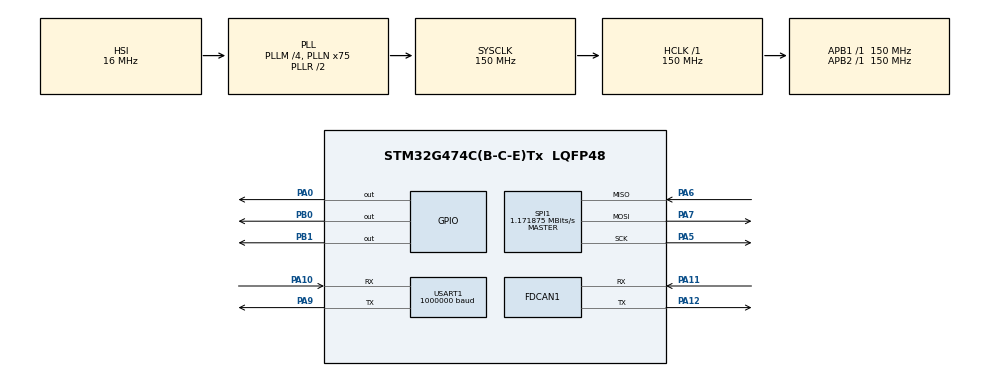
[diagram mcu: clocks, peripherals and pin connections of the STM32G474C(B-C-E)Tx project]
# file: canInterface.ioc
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Dma.Request0=USART1_RX
Dma.USART1_RX.0.Direction=DMA_PERIPH_TO_MEMORY
Dma.USART1_RX.0.EventEnable=DISABLE
Dma.USART1_RX.0.Instance=DMA1_Channel1
Dma.USART1_RX.0.MemDataAlignment=DMA_MDATAALIGN_BYTE
Dma.USART1_RX.0.MemInc=DMA_MINC_ENABLE
Dma.USART1_RX.0.Mode=DMA_CIRCULAR
Dma.USART1_RX.0.PeriphDataAlignment=DMA_PDATAALIGN_BYTE
Dma.USART1_RX.0.PeriphInc=DMA_PINC_DISABLE
Dma.USART1_RX.0.Polarity=HAL_DMAMUX_REQ_GEN_RISING
Dma.USART1_RX.0.Priority=DMA_PRIORITY_LOW
Dma.USART1_RX.0.RequestNumber=1
Dma.USART1_RX.0.SignalID=NONE
Dma.USART1_RX.0.SyncEnable=DISABLE
Dma.USART1_RX.0.SyncPolarity=HAL_DMAMUX_SYNC_NO_EVENT
Dma.USART1_RX.0.SyncRequestNumber=1
Dma.USART1_RX.0.SyncSignalID=NONE
FDCAN1.AutoRetransmission=ENABLE
FDCAN1.CalculateBaudRateNominal=1000000
FDCAN1.CalculateTimeBitNominal=1000
FDCAN1.CalculateTimeQuantumNominal=6.666666666666667
FDCAN1.DataPrescaler=1
FDCAN1.DataSyncJumpWidth=4
FDCAN1.DataTimeSeg1=5
FDCAN1.DataTimeSeg2=4
FDCAN1.ExtFiltersNbr=0
FDCAN1.NominalPrescaler=1
FDCAN1.NominalSyncJumpWidth=16
FDCAN1.NominalTimeSeg1=129
FDCAN1.NominalTimeSeg2=20
FDCAN1.StdFiltersNbr=1
Mcu.Family=STM32G4
Mcu.Name=STM32G474C(B-C-E)Tx
Mcu.Package=LQFP48
NVIC.DMA1_Channel1_IRQn=true\:0\:0\:false\:false\:true\:false\:true\:true
NVIC.PriorityGroup=NVIC_PRIORITYGROUP_4
NVIC.TIM2_IRQn=true\:0\:0\:false\:false\:true\:true\:true\:true
NVIC.USART1_IRQn=true\:0\:0\:false\:false\:true\:true\:true\:true
PA0.GPIO_PuPd=GPIO_PULLDOWN
PA0.GPIO_Speed=GPIO_SPEED_FREQ_VERY_HIGH
PA0.Signal=GPIO_Output
PA10.Mode=Asynchronous
PA10.Signal=USART1_RX
PA11.Mode=FDCAN_Activate
PA11.Signal=FDCAN1_RX
PA12.Mode=FDCAN_Activate
PA12.Signal=FDCAN1_TX
PA5.GPIO_Speed=GPIO_SPEED_FREQ_HIGH
PA5.Mode=Full_Duplex_Master
PA5.Signal=SPI1_SCK
PA6.GPIO_Speed=GPIO_SPEED_FREQ_HIGH
PA6.Mode=Full_Duplex_Master
PA6.Signal=SPI1_MISO
PA7.GPIO_Speed=GPIO_SPEED_FREQ_HIGH
PA7.Mode=Full_Duplex_Master
PA7.Signal=SPI1_MOSI
PA9.Mode=Asynchronous
PA9.Signal=USART1_TX
PB0.GPIO_PuPd=GPIO_PULLUP
PB0.GPIO_Speed=GPIO_SPEED_FREQ_VERY_HIGH
PB0.PinState=GPIO_PIN_SET
PB0.Signal=GPIO_Output
PB1.GPIO_PuPd=GPIO_PULLUP
PB1.GPIO_Speed=GPIO_SPEED_FREQ_VERY_HIGH
PB1.PinState=GPIO_PIN_SET
PB1.Signal=GPIO_Output
PF0-OSC_IN.Mode=HSE-External-Oscillator
PF0-OSC_IN.Signal=RCC_OSC_IN
PF1-OSC_OUT.Mode=HSE-External-Oscillator
PF1-OSC_OUT.Signal=RCC_OSC_OUT
ProjectManager.HeapSize=0x1000
ProjectManager.StackSize=0x1000
ProjectManager.TargetToolchain=STM32CubeIDE
RCC.ADC12Freq_Value=150000000
RCC.ADC345Freq_Value=150000000
RCC.AHBFreq_Value=150000000
RCC.APB1Freq_Value=150000000
RCC.APB1TimFreq_Value=150000000
RCC.APB2Freq_Value=150000000
RCC.APB2TimFreq_Value=150000000
RCC.CortexFreq_Value=150000000
RCC.EXTERNAL_CLOCK_VALUE=12288000
RCC.HCLKFreq_Value=150000000
RCC.HSE_VALUE=8000000
RCC.HSI48_VALUE=48000000
RCC.HSI_VALUE=16000000
RCC.LSE_VALUE=32768
RCC.PLLM=RCC_PLLM_DIV4
RCC.PLLN=75
RCC.SYSCLKFreq_VALUE=150000000
RCC.SYSCLKSource=RCC_SYSCLKSOURCE_PLLCLK
RCC.USBFreq_Value=150000000
RCC.VCOOutputFreq_Value=300000000
SPI1.BaudRatePrescaler=SPI_BAUDRATEPRESCALER_128
SPI1.CalculateBaudRate=1.171875 MBits/s
SPI1.DataSize=SPI_DATASIZE_8BIT
SPI1.Direction=SPI_DIRECTION_2LINES
SPI1.Mode=SPI_MODE_MASTER
SPI1.NSSPMode=SPI_NSS_PULSE_DISABLE
SPI1.VirtualType=VM_MASTER
TIM2.AutoReloadPreload=TIM_AUTORELOAD_PRELOAD_ENABLE
TIM2.PeriodNoDither=9999
TIM2.Prescaler=14
TIM4.Prescaler=149
USART1.BaudRate=1000000
USART1.VirtualMode-Asynchronous=VM_ASYNC
VP_TIM2_VS_ClockSourceINT.Mode=Internal
VP_TIM4_VS_ClockSourceINT.Mode=Internal
board=custom

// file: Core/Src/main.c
/* USER CODE BEGIN Header */
/**
  ******************************************************************************
  * @file           : main.c
  * @brief          : Main program body
  ******************************************************************************
  * @attention
  *
  * Copyright (c) 2022 STMicroelectronics.
  * All rights reserved.
  *
  * This software is licensed under terms that can be found in the LICENSE file
  * in the root directory of this software component.
  * If no LICENSE file comes with this software, it is provided AS-IS.
  *
  ******************************************************************************
  */
/* USER CODE END Header */
#include "main.h"

FDCAN_HandleTypeDef hfdcan1;

SPI_HandleTypeDef hspi1;

TIM_HandleTypeDef htim2;
TIM_HandleTypeDef htim4;

UART_HandleTypeDef huart1;
DMA_HandleTypeDef hdma_usart1_rx;

/* USER CODE BEGIN PV */
FDCAN_TxHeaderTypeDef TxHeader;
FDCAN_RxHeaderTypeDef RxHeader;
uint8_t txData[8];
uint8_t rxData[8];
uint8_t trigger1msFlag=0;
uint8_t trigger2msFlag=0;
uint8_t spiAsk[]={0x05,0x00,0x00,0x00,0x00};
uint8_t spi1Rec[5];
uint8_t spi2Rec[5];
uint8_t spiTxData[8],spiTxDataOld[8],spiTxDataBuff[16];
uint8_t spi1HoldData[3];
uint8_t spi2HoldData[3];
int32_t angle;
uint32_t send_angle;
uint8_t dataInterity;
uint8_t dmaBuff[15]; // for receiving pos feedback
uint8_t FBposBuff[30];
uint8_t torEnFlag,torEnFlagOld;
uint8_t desPos[4];
HAL_StatusTypeDef spi1state;
HAL_StatusTypeDef spi2state;
/* USER CODE END PV */

void SystemClock_Config(void);
static void MX_GPIO_Init(void);
static void MX_DMA_Init(void);
static void MX_FDCAN1_Init(void);
static void MX_SPI1_Init(void);
static void MX_USART1_UART_Init(void);
static void MX_TIM2_Init(void);
static void MX_TIM4_Init(void);
/* USER CODE BEGIN PFP */
uint8_t SAEJ1850_CRC8(uint8_t* data,  uint8_t length);
void int32toBytes(int32_t data, uint8_t* outBytes);
unsigned short update_crc(unsigned short crc_accum, unsigned char *data_blk_ptr, unsigned short data_blk_size);
/* USER CODE END PFP */

/* USER CODE BEGIN 0 */
void unpack_reply(FDCAN_RxHeaderTypeDef *pRxHeader, uint8_t *data)
{
	//if (pRxHeader->DataLength == FDCAN_DLC_BYTES_8)
	{
		int i;
		uint32_t recID=pRxHeader->Identifier;
		if (recID==0x145)
		{
			for (i=0;i<4;i++)
				txData[i]=spiTxDataBuff[i];

			if (rxData[0]==1)
				torEnFlag=1;
			else
				torEnFlag=0;

			uint8_t returnMsg[13];
			returnMsg[0]=0xff;
			returnMsg[1]=0xff;
			returnMsg[2]=0xfd;
			returnMsg[3]=0; // reserved
			returnMsg[4]=1; // device ID
			returnMsg[5]=6; // low byte of length
			returnMsg[6]=0; // high byte of length
			returnMsg[7]=3; // instruction code
			returnMsg[8]=68; // Low byte reg address
			returnMsg[9]=0x00; // high byte reg address
			returnMsg[10]=1; // para bytes
			returnMsg[11]=0xde; //low byte of CRC
			returnMsg[12]=0; // high byte of CRC
			unsigned short crc16;
			crc16=update_crc(0, returnMsg, 11);
			returnMsg[11]= crc16 & 0x00ff;
			returnMsg[12] = (crc16>>8) & 0x00ff;

			if (rxData[0]==2)
			{
				HAL_UART_Abort(&huart1);
				HAL_UART_DMAStop(&huart1);

				//MX_DMA_Init();
				HAL_Delay(100);
				HAL_UART_Transmit(&huart1,returnMsg,13,2); // disable response data for write cmd
				HAL_Delay(100);
				for (i=0;i<15;i++)
					dmaBuff[i]=0;
				for (i=0;i<30;i++)
					FBposBuff[i]=0;
				HAL_UART_Receive_DMA(&huart1, dmaBuff, 15);
			}

			desPos[0]=rxData[2]; // little-endian
			desPos[1]=rxData[3];
			desPos[2]=rxData[4];
			desPos[3]=rxData[5];

			for (i=0;i<16;i++)
			{if (FBposBuff[i]==0xff && FBposBuff[i+1]==0xff && FBposBuff[i+2]==0xfd)
					break;
			}
			txData[4]=FBposBuff[i+9];
			txData[5]=FBposBuff[i+10];
			txData[6]=FBposBuff[i+11];
			txData[7]=FBposBuff[i+12];
		}
		TxHeader.Identifier=recID;
		HAL_FDCAN_AddMessageToTxFifoQ(&hfdcan1, &TxHeader, txData);
	}

}

void HAL_TIM_PeriodElapsedCallback(TIM_HandleTypeDef *htim)
{
	if (htim==&htim2)
		{trigger1msFlag=1;trigger2msFlag++;}
}
void delay_us(uint16_t nus)
{
	__HAL_TIM_SET_COUNTER(&htim4, 0);
	while (__HAL_TIM_GET_COUNTER(&htim4) < nus) ;
}

void HAL_UART_RxCpltCallback(UART_HandleTypeDef *huart)
{
	if(huart->Instance==USART1)
	{
	int i;
/*	for (i=15;i<30;i++)
		FBposBuff[i]=FBposBuff[i-15];
	for (i=0;i<15;i++)
		FBposBuff[i]=dmaBuff[i]; */
	for (i=0;i<15;i++)
			FBposBuff[i]=FBposBuff[i+15];
	for (i=15;i<30;i++)
		FBposBuff[i]=dmaBuff[i-15];
	}

}
/* USER CODE END 0 */

int main(void)
{
  /* USER CODE BEGIN 1 */
  TxHeader.Identifier=0x144;
  TxHeader.IdType=FDCAN_STANDARD_ID;
  TxHeader.TxFrameType=FDCAN_DATA_FRAME;
  TxHeader.ErrorStateIndicator = FDCAN_ESI_ACTIVE;
  TxHeader.DataLength=FDCAN_DLC_BYTES_8;
  TxHeader.BitRateSwitch = FDCAN_BRS_OFF;
  TxHeader.FDFormat=FDCAN_CLASSIC_CAN;
  TxHeader.TxEventFifoControl=FDCAN_NO_TX_EVENTS;
  TxHeader.MessageMarker=0;

  /* USER CODE END 1 */

  /* MCU Configuration--------------------------------------------------------*/

  /* Reset of all peripherals, Initializes the Flash interface and the Systick. */
  HAL_Init();

  /* Configure the system clock */
  SystemClock_Config();

  /* Initialize all configured peripherals */
  MX_GPIO_Init();
  MX_DMA_Init();
  MX_FDCAN1_Init();
  MX_SPI1_Init();
  MX_USART1_UART_Init();
  MX_TIM2_Init();
  MX_TIM4_Init();
  /* USER CODE BEGIN 2 */
  HAL_GPIO_WritePin(GPIOB, GPIO_PIN_0, GPIO_PIN_SET);
  HAL_GPIO_WritePin(GPIOB, GPIO_PIN_1, GPIO_PIN_SET);
  trigger1msFlag=0;

  HAL_Delay(2000);
  torEnFlag=0;
  torEnFlagOld=0;

  uint8_t torEn[13];
  torEn[0]=0xff;
  torEn[1]=0xff;
  torEn[2]=0xfd;
  torEn[3]=0; // reserved
  torEn[4]=1; // device ID
  torEn[5]=6; // low byte of length
  torEn[6]=0; // high byte of length
  torEn[7]=3; // instruction code
  torEn[8]=0x40; // Low byte reg address
  torEn[9]=0x00; // high byte reg address
  torEn[10]=1; // para bytes
  torEn[11]=0xde; //low byte of CRC
  torEn[12]=0; // high byte of CRC
  unsigned short crc16;
  crc16=update_crc(0, torEn, 11);
  torEn[11]= crc16 & 0x00ff;
  torEn[12] = (crc16>>8) & 0x00ff;
  //HAL_UART_Transmit(&huart1,torEn,13,2); // enable torque output

  uint8_t torDis[13];
  torDis[0]=0xff;
  torDis[1]=0xff;
  torDis[2]=0xfd;
  torDis[3]=0; // reserved
  torDis[4]=1; // device ID
  torDis[5]=6; // low byte of length
  torDis[6]=0; // high byte of length
  torDis[7]=3; // instruction code
  torDis[8]=0x40; // Low byte reg address
  torDis[9]=0x00; // high byte reg address
  torDis[10]=0; // para bytes
  torDis[11]=0xde; //low byte of CRC
  torDis[12]=0; // high byte of CRC
  crc16=update_crc(0, torDis, 11);
  torDis[11]= crc16 & 0x00ff;
  torDis[12] = (crc16>>8) & 0x00ff;

  uint8_t returnMsg[13];
  returnMsg[0]=0xff;
  returnMsg[1]=0xff;
  returnMsg[2]=0xfd;
  returnMsg[3]=0; // reserved
  returnMsg[4]=1; // device ID
  returnMsg[5]=6; // low byte of length
  returnMsg[6]=0; // high byte of length
  returnMsg[7]=3; // instruction code
  returnMsg[8]=68; // Low byte reg address
  returnMsg[9]=0x00; // high byte reg address
  returnMsg[10]=1; // para bytes
  returnMsg[11]=0xde; //low byte of CRC
  returnMsg[12]=0; // high byte of CRC
  crc16=update_crc(0, returnMsg, 11);
  returnMsg[11]= crc16 & 0x00ff;
  returnMsg[12] = (crc16>>8) & 0x00ff;
  HAL_UART_Transmit(&huart1,returnMsg,13,2); // disable response data for write cmd

  HAL_UART_Receive_DMA(&huart1, dmaBuff, 15);

  uint8_t getCurPos[14];
  getCurPos[0]=0xff;
  getCurPos[1]=0xff;
  getCurPos[2]=0xfd;
  getCurPos[3]=0;
  getCurPos[4]=1;
  getCurPos[5]=7;
  getCurPos[6]=0;
  getCurPos[7]=0x02;
  getCurPos[8]=0x84;
  getCurPos[9]=0x00;
  getCurPos[10]=0x04;
  getCurPos[11]=0x00;
  crc16=update_crc(0, getCurPos, 12);
  getCurPos[12]=crc16 & 0x00ff;
  getCurPos[13]=(crc16>>8) & 0x00ff;
  HAL_UART_Transmit(&huart1,getCurPos,14,2); // get the current position

  uint8_t setDesPos[16];
  setDesPos[0]=0xff;
  setDesPos[1]=0xff;
  setDesPos[2]=0xfd;
  setDesPos[3]=0;
  setDesPos[4]=1;
  setDesPos[5]=9;
  setDesPos[6]=0;
  setDesPos[7]=0x03;
  setDesPos[8]=0x74;
  setDesPos[9]=0x00;
  setDesPos[10]=0x04; // des pos
  setDesPos[11]=0x00; // des pos
  setDesPos[12]=0x1d; // des pos
  setDesPos[13]=0x15; // des pos
  setDesPos[14]=0;
  setDesPos[15]=0;

  HAL_TIM_Base_Start_IT(&htim2);
  HAL_TIM_Base_Start(&htim4);
  HAL_Delay(100);
  /* USER CODE END 2 */

  /* Infinite loop */
  /* USER CODE BEGIN WHILE */
  int gpioCount=0;
  HAL_GPIO_WritePin(GPIOA, GPIO_PIN_0, GPIO_PIN_RESET);
  while (1)
  {
    /* USER CODE END WHILE */

    /* USER CODE BEGIN 3 */
	if (trigger1msFlag==1)
	  {
		HAL_GPIO_WritePin(GPIOB, GPIO_PIN_0, GPIO_PIN_RESET);
		spi1state=HAL_SPI_TransmitReceive(&hspi1, spiAsk, spi1Rec, 5,1);
		HAL_GPIO_WritePin(GPIOB, GPIO_PIN_0, GPIO_PIN_SET);

		HAL_GPIO_WritePin(GPIOB, GPIO_PIN_1, GPIO_PIN_RESET);
		spi2state=HAL_SPI_TransmitReceive(&hspi1, spiAsk, spi2Rec, 5,1);
		HAL_GPIO_WritePin(GPIOB, GPIO_PIN_1, GPIO_PIN_SET);
		int i;
		for (i=0;i<8;i++)
			spiTxData[i]=0;

		uint8_t dataTmp[4];
		uint8_t crc8;
		dataTmp[0]=spi1Rec[1];
		dataTmp[1]=spi1Rec[2];
		dataTmp[2]=spi1Rec[3];
		dataTmp[3]=spi1Rec[4];
		crc8=SAEJ1850_CRC8(dataTmp,3);
		if (crc8==dataTmp[3] && spi1state==HAL_OK && (dataTmp[0]+dataTmp[1])!=0)
		{
			spiTxData[1]=dataTmp[0];
			spiTxData[0]=dataTmp[1];
		}
		else
		{
			spiTxData[1]=spiTxDataOld[1];
			spiTxData[0]=spiTxDataOld[0];
			spiTxData[4]=0x0e;
		}

		dataTmp[0]=spi2Rec[1];
		dataTmp[1]=spi2Rec[2];
		dataTmp[2]=spi2Rec[3];
		dataTmp[3]=spi2Rec[4];
		crc8=SAEJ1850_CRC8(dataTmp,3);
		if (crc8==dataTmp[3] && spi2state==HAL_OK && (dataTmp[0]+dataTmp[1])!=0)
		{
			spiTxData[3]=dataTmp[0];
			spiTxData[2]=dataTmp[1];
		}
		else
		{
			spiTxData[3]=spiTxDataOld[3];
			spiTxData[2]=spiTxDataOld[2];
			spiTxData[5]=0x0e;
		}

		for (i=0;i<8;i++)
			spiTxDataOld[i]=spiTxData[i];

		for (i=0;i<8;i++)
			spiTxDataBuff[i]=spiTxDataBuff[i+8];

		for (i=0;i<8;i++)
			spiTxDataBuff[i+8]=spiTxData[i];

		trigger1msFlag=0;
	  }
	if (trigger2msFlag==2)
	{
		if (torEnFlag!=torEnFlagOld)
		{
			if (torEnFlag==1)
				HAL_UART_Transmit(&huart1,torEn,13,2);
			else
				HAL_UART_Transmit(&huart1,torDis,13,2);
			torEnFlagOld=torEnFlag;
			//HAL_UART_Receive_DMA(&huart1, dmaBuff, 15);
		}

		if (torEnFlag==1)
		{
			setDesPos[10]=desPos[0]; // des pos
			setDesPos[11]=desPos[1]; // des pos
			setDesPos[12]=desPos[2]; // des pos
			setDesPos[13]=desPos[3]; // des pos
			crc16=update_crc(0, setDesPos, 14);
			setDesPos[14]= crc16 & 0x00ff;
			setDesPos[15] = (crc16>>8) & 0x00ff;
			HAL_UART_Transmit(&huart1,setDesPos,16,2);
		}

		HAL_UART_Transmit(&huart1,getCurPos,14,2);
		trigger2msFlag=0;
	}
	if (HAL_FDCAN_GetRxFifoFillLevel(&hfdcan1, FDCAN_RX_FIFO0) >= 1)
	  {
		  if (HAL_FDCAN_GetRxMessage(&hfdcan1, FDCAN_RX_FIFO0, &RxHeader, rxData) == HAL_OK)
	  	  {
			  unpack_reply(&RxHeader, rxData);
	  	  }
	  }
	 /* if(gpioCount==2)
	  	  {gpioCount=0;HAL_GPIO_WritePin(GPIOA, GPIO_PIN_0, GPIO_PIN_RESET);}
	  else
		  HAL_GPIO_WritePin(GPIOA, GPIO_PIN_0, GPIO_PIN_SET);
	  gpioCount++;*/
	  delay_us(10);
  }
  /* USER CODE END 3 */
}

void SystemClock_Config(void)
{
  RCC_OscInitTypeDef RCC_OscInitStruct = {0};
  RCC_ClkInitTypeDef RCC_ClkInitStruct = {0};

  /** Configure the main internal regulator output voltage
  */
  HAL_PWREx_ControlVoltageScaling(PWR_REGULATOR_VOLTAGE_SCALE1);

  /** Initializes the RCC Oscillators according to the specified parameters
  * in the RCC_OscInitTypeDef structure.
  */
  RCC_OscInitStruct.OscillatorType = RCC_OSCILLATORTYPE_HSI;
  RCC_OscInitStruct.HSIState = RCC_HSI_ON;
  RCC_OscInitStruct.HSICalibrationValue = RCC_HSICALIBRATION_DEFAULT;
  RCC_OscInitStruct.PLL.PLLState = RCC_PLL_ON;
  RCC_OscInitStruct.PLL.PLLSource = RCC_PLLSOURCE_HSI;
  RCC_OscInitStruct.PLL.PLLM = RCC_PLLM_DIV4;
  RCC_OscInitStruct.PLL.PLLN = 75;
  RCC_OscInitStruct.PLL.PLLP = RCC_PLLP_DIV2;
  RCC_OscInitStruct.PLL.PLLQ = RCC_PLLQ_DIV2;
  RCC_OscInitStruct.PLL.PLLR = RCC_PLLR_DIV2;
  if (HAL_RCC_OscConfig(&RCC_OscInitStruct) != HAL_OK)
  {
    Error_Handler();
  }

  /** Initializes the CPU, AHB and APB buses clocks
  */
  RCC_ClkInitStruct.ClockType = RCC_CLOCKTYPE_HCLK|RCC_CLOCKTYPE_SYSCLK
                              |RCC_CLOCKTYPE_PCLK1|RCC_CLOCKTYPE_PCLK2;
  RCC_ClkInitStruct.SYSCLKSource = RCC_SYSCLKSOURCE_PLLCLK;
  RCC_ClkInitStruct.AHBCLKDivider = RCC_SYSCLK_DIV1;
  RCC_ClkInitStruct.APB1CLKDivider = RCC_HCLK_DIV1;
  RCC_ClkInitStruct.APB2CLKDivider = RCC_HCLK_DIV1;

  if (HAL_RCC_ClockConfig(&RCC_ClkInitStruct, FLASH_LATENCY_4) != HAL_OK)
  {
    Error_Handler();
  }
}

static void MX_FDCAN1_Init(void)
{

  hfdcan1.Instance = FDCAN1;
  hfdcan1.Init.ClockDivider = FDCAN_CLOCK_DIV1;
  hfdcan1.Init.FrameFormat = FDCAN_FRAME_CLASSIC;
  hfdcan1.Init.Mode = FDCAN_MODE_NORMAL;
  hfdcan1.Init.AutoRetransmission = ENABLE;
  hfdcan1.Init.TransmitPause = DISABLE;
  hfdcan1.Init.ProtocolException = DISABLE;
  hfdcan1.Init.NominalPrescaler = 1;
  hfdcan1.Init.NominalSyncJumpWidth = 16;
  hfdcan1.Init.NominalTimeSeg1 = 129;
  hfdcan1.Init.NominalTimeSeg2 = 20;
  hfdcan1.Init.DataPrescaler = 1;
  hfdcan1.Init.DataSyncJumpWidth = 4;
  hfdcan1.Init.DataTimeSeg1 = 5;
  hfdcan1.Init.DataTimeSeg2 = 4;
  hfdcan1.Init.StdFiltersNbr = 1;
  hfdcan1.Init.ExtFiltersNbr = 0;
  hfdcan1.Init.TxFifoQueueMode = FDCAN_TX_FIFO_OPERATION;
  if (HAL_FDCAN_Init(&hfdcan1) != HAL_OK)
  {
    Error_Handler();
  }
  /* USER CODE BEGIN FDCAN1_Init 2 */
  FDCAN_FilterTypeDef sFilterConfig;
  sFilterConfig.IdType = FDCAN_STANDARD_ID;
  sFilterConfig.FilterIndex = 0;
  sFilterConfig.FilterType = FDCAN_FILTER_DUAL;
  sFilterConfig.FilterConfig = FDCAN_FILTER_TO_RXFIFO0;
  sFilterConfig.FilterID1 = 0x145;
  sFilterConfig.FilterID2 = 0x146;
  HAL_FDCAN_ConfigFilter(&hfdcan1, &sFilterConfig);
  HAL_FDCAN_ConfigGlobalFilter(&hfdcan1, FDCAN_REJECT, FDCAN_REJECT, FDCAN_FILTER_REMOTE, FDCAN_FILTER_REMOTE);
  HAL_FDCAN_Start(&hfdcan1);

  /* USER CODE END FDCAN1_Init 2 */

}

static void MX_SPI1_Init(void)
{

  /* SPI1 parameter configuration*/
  hspi1.Instance = SPI1;
  hspi1.Init.Mode = SPI_MODE_MASTER;
  hspi1.Init.Direction = SPI_DIRECTION_2LINES;
  hspi1.Init.DataSize = SPI_DATASIZE_8BIT;
  hspi1.Init.CLKPolarity = SPI_POLARITY_LOW;
  hspi1.Init.CLKPhase = SPI_PHASE_1EDGE;
  hspi1.Init.NSS = SPI_NSS_SOFT;
  hspi1.Init.BaudRatePrescaler = SPI_BAUDRATEPRESCALER_128;
  hspi1.Init.FirstBit = SPI_FIRSTBIT_MSB;
  hspi1.Init.TIMode = SPI_TIMODE_DISABLE;
  hspi1.Init.CRCCalculation = SPI_CRCCALCULATION_DISABLE;
  hspi1.Init.CRCPolynomial = 7;
  hspi1.Init.CRCLength = SPI_CRC_LENGTH_DATASIZE;
  hspi1.Init.NSSPMode = SPI_NSS_PULSE_DISABLE;
  if (HAL_SPI_Init(&hspi1) != HAL_OK)
  {
    Error_Handler();
  }

}

static void MX_TIM2_Init(void)
{

  TIM_ClockConfigTypeDef sClockSourceConfig = {0};
  TIM_MasterConfigTypeDef sMasterConfig = {0};

  htim2.Instance = TIM2;
  htim2.Init.Prescaler = 14;
  htim2.Init.CounterMode = TIM_COUNTERMODE_UP;
  htim2.Init.Period = 9999;
  htim2.Init.ClockDivision = TIM_CLOCKDIVISION_DIV1;
  htim2.Init.AutoReloadPreload = TIM_AUTORELOAD_PRELOAD_ENABLE;
  if (HAL_TIM_Base_Init(&htim2) != HAL_OK)
  {
    Error_Handler();
  }
  sClockSourceConfig.ClockSource = TIM_CLOCKSOURCE_INTERNAL;
  if (HAL_TIM_ConfigClockSource(&htim2, &sClockSourceConfig) != HAL_OK)
  {
    Error_Handler();
  }
  sMasterConfig.MasterOutputTrigger = TIM_TRGO_RESET;
  sMasterConfig.MasterSlaveMode = TIM_MASTERSLAVEMODE_DISABLE;
  if (HAL_TIMEx_MasterConfigSynchronization(&htim2, &sMasterConfig) != HAL_OK)
  {
    Error_Handler();
  }

}

static void MX_TIM4_Init(void)
{

  TIM_ClockConfigTypeDef sClockSourceConfig = {0};
  TIM_MasterConfigTypeDef sMasterConfig = {0};

  htim4.Instance = TIM4;
  htim4.Init.Prescaler = 149;
  htim4.Init.CounterMode = TIM_COUNTERMODE_UP;
  htim4.Init.Period = 65535;
  htim4.Init.ClockDivision = TIM_CLOCKDIVISION_DIV1;
  htim4.Init.AutoReloadPreload = TIM_AUTORELOAD_PRELOAD_DISABLE;
  if (HAL_TIM_Base_Init(&htim4) != HAL_OK)
  {
    Error_Handler();
  }
  sClockSourceConfig.ClockSource = TIM_CLOCKSOURCE_INTERNAL;
  if (HAL_TIM_ConfigClockSource(&htim4, &sClockSourceConfig) != HAL_OK)
  {
    Error_Handler();
  }
  sMasterConfig.MasterOutputTrigger = TIM_TRGO_RESET;
  sMasterConfig.MasterSlaveMode = TIM_MASTERSLAVEMODE_DISABLE;
  if (HAL_TIMEx_MasterConfigSynchronization(&htim4, &sMasterConfig) != HAL_OK)
  {
    Error_Handler();
  }

}

static void MX_USART1_UART_Init(void)
{

  huart1.Instance = USART1;
  huart1.Init.BaudRate = 1000000;
  huart1.Init.WordLength = UART_WORDLENGTH_8B;
  huart1.Init.StopBits = UART_STOPBITS_1;
  huart1.Init.Parity = UART_PARITY_NONE;
  huart1.Init.Mode = UART_MODE_TX_RX;
  huart1.Init.HwFlowCtl = UART_HWCONTROL_NONE;
  huart1.Init.OverSampling = UART_OVERSAMPLING_16;
  huart1.Init.OneBitSampling = UART_ONE_BIT_SAMPLE_DISABLE;
  huart1.Init.ClockPrescaler = UART_PRESCALER_DIV1;
  huart1.AdvancedInit.AdvFeatureInit = UART_ADVFEATURE_NO_INIT;
  if (HAL_UART_Init(&huart1) != HAL_OK)
  {
    Error_Handler();
  }
  if (HAL_UARTEx_SetTxFifoThreshold(&huart1, UART_TXFIFO_THRESHOLD_1_8) != HAL_OK)
  {
    Error_Handler();
  }
  if (HAL_UARTEx_SetRxFifoThreshold(&huart1, UART_RXFIFO_THRESHOLD_1_8) != HAL_OK)
  {
    Error_Handler();
  }
  if (HAL_UARTEx_DisableFifoMode(&huart1) != HAL_OK)
  {
    Error_Handler();
  }

}

static void MX_DMA_Init(void)
{

  /* DMA controller clock enable */
  __HAL_RCC_DMAMUX1_CLK_ENABLE();
  __HAL_RCC_DMA1_CLK_ENABLE();

  /* DMA interrupt init */
  /* DMA1_Channel1_IRQn interrupt configuration */
  HAL_NVIC_SetPriority(DMA1_Channel1_IRQn, 0, 0);
  HAL_NVIC_EnableIRQ(DMA1_Channel1_IRQn);

}

static void MX_GPIO_Init(void)
{
  GPIO_InitTypeDef GPIO_InitStruct = {0};

  /* GPIO Ports Clock Enable */
  __HAL_RCC_GPIOF_CLK_ENABLE();
  __HAL_RCC_GPIOA_CLK_ENABLE();
  __HAL_RCC_GPIOB_CLK_ENABLE();

  /*Configure GPIO pin Output Level */
  HAL_GPIO_WritePin(GPIOA, GPIO_PIN_0, GPIO_PIN_RESET);

  /*Configure GPIO pin Output Level */
  HAL_GPIO_WritePin(GPIOB, GPIO_PIN_0|GPIO_PIN_1, GPIO_PIN_SET);

  /*Configure GPIO pin : PA0 */
  GPIO_InitStruct.Pin = GPIO_PIN_0;
  GPIO_InitStruct.Mode = GPIO_MODE_OUTPUT_PP;
  GPIO_InitStruct.Pull = GPIO_PULLDOWN;
  GPIO_InitStruct.Speed = GPIO_SPEED_FREQ_VERY_HIGH;
  HAL_GPIO_Init(GPIOA, &GPIO_InitStruct);

  /*Configure GPIO pins : PB0 PB1 */
  GPIO_InitStruct.Pin = GPIO_PIN_0|GPIO_PIN_1;
  GPIO_InitStruct.Mode = GPIO_MODE_OUTPUT_PP;
  GPIO_InitStruct.Pull = GPIO_PULLUP;
  GPIO_InitStruct.Speed = GPIO_SPEED_FREQ_VERY_HIGH;
  HAL_GPIO_Init(GPIOB, &GPIO_InitStruct);

}

/* USER CODE BEGIN 4 */
uint8_t SAEJ1850_CRC8(uint8_t* data,  uint8_t length)
{
	uint8_t i,j;
	uint8_t crc,ploy;

	crc = 0xff;
	ploy = 0x1d;

	for(i = 0; i< length; i++)
	{
		crc^= data[i];
		for(j =0; j< 8; j++)
		{
			if(crc& 0x80)
				crc = (crc<<1)^ploy;
			else
				crc <<=1;
		}
	}
	crc^=0xff;
	return crc;
}

void int32toBytes(int32_t data, uint8_t* outBytes)
{
	outBytes[0]=(uint8_t)(data & 0xff);
	outBytes[1]=(uint8_t)((data & 0xff00)>>8);
	outBytes[2]=(uint8_t)((data & 0xff0000)>>16);
	outBytes[3]=(uint8_t)((data>>24) & 0xff);
}

unsigned short update_crc(unsigned short crc_accum, unsigned char *data_blk_ptr, unsigned short data_blk_size)
{
    unsigned short i, j;
    unsigned short crc_table[256] = {
        0x0000, 0x8005, 0x800F, 0x000A, 0x801B, 0x001E, 0x0014, 0x8011,
        0x8033, 0x0036, 0x003C, 0x8039, 0x0028, 0x802D, 0x8027, 0x0022,
        0x8063, 0x0066, 0x006C, 0x8069, 0x0078, 0x807D, 0x8077, 0x0072,
        0x0050, 0x8055, 0x805F, 0x005A, 0x804B, 0x004E, 0x0044, 0x8041,
        0x80C3, 0x00C6, 0x00CC, 0x80C9, 0x00D8, 0x80DD, 0x80D7, 0x00D2,
        0x00F0, 0x80F5, 0x80FF, 0x00FA, 0x80EB, 0x00EE, 0x00E4, 0x80E1,
        0x00A0, 0x80A5, 0x80AF, 0x00AA, 0x80BB, 0x00BE, 0x00B4, 0x80B1,
        0x8093, 0x0096, 0x009C, 0x8099, 0x0088, 0x808D, 0x8087, 0x0082,
        0x8183, 0x0186, 0x018C, 0x8189, 0x0198, 0x819D, 0x8197, 0x0192,
        0x01B0, 0x81B5, 0x81BF, 0x01BA, 0x81AB, 0x01AE, 0x01A4, 0x81A1,
        0x01E0, 0x81E5, 0x81EF, 0x01EA, 0x81FB, 0x01FE, 0x01F4, 0x81F1,
        0x81D3, 0x01D6, 0x01DC, 0x81D9, 0x01C8, 0x81CD, 0x81C7, 0x01C2,
        0x0140, 0x8145, 0x814F, 0x014A, 0x815B, 0x015E, 0x0154, 0x8151,
        0x8173, 0x0176, 0x017C, 0x8179, 0x0168, 0x816D, 0x8167, 0x0162,
        0x8123, 0x0126, 0x012C, 0x8129, 0x0138, 0x813D, 0x8137, 0x0132,
        0x0110, 0x8115, 0x811F, 0x011A, 0x810B, 0x010E, 0x0104, 0x8101,
        0x8303, 0x0306, 0x030C, 0x8309, 0x0318, 0x831D, 0x8317, 0x0312,
        0x0330, 0x8335, 0x833F, 0x033A, 0x832B, 0x032E, 0x0324, 0x8321,
        0x0360, 0x8365, 0x836F, 0x036A, 0x837B, 0x037E, 0x0374, 0x8371,
        0x8353, 0x0356, 0x035C, 0x8359, 0x0348, 0x834D, 0x8347, 0x0342,
        0x03C0, 0x83C5, 0x83CF, 0x03CA, 0x83DB, 0x03DE, 0x03D4, 0x83D1,
        0x83F3, 0x03F6, 0x03FC, 0x83F9, 0x03E8, 0x83ED, 0x83E7, 0x03E2,
        0x83A3, 0x03A6, 0x03AC, 0x83A9, 0x03B8, 0x83BD, 0x83B7, 0x03B2,
        0x0390, 0x8395, 0x839F, 0x039A, 0x838B, 0x038E, 0x0384, 0x8381,
        0x0280, 0x8285, 0x828F, 0x028A, 0x829B, 0x029E, 0x0294, 0x8291,
        0x82B3, 0x02B6, 0x02BC, 0x82B9, 0x02A8, 0x82AD, 0x82A7, 0x02A2,
        0x82E3, 0x02E6, 0x02EC, 0x82E9, 0x02F8, 0x82FD, 0x82F7, 0x02F2,
        0x02D0, 0x82D5, 0x82DF, 0x02DA, 0x82CB, 0x02CE, 0x02C4, 0x82C1,
        0x8243, 0x0246, 0x024C, 0x8249, 0x0258, 0x825D, 0x8257, 0x0252,
        0x0270, 0x8275, 0x827F, 0x027A, 0x826B, 0x026E, 0x0264, 0x8261,
        0x0220, 0x8225, 0x822F, 0x022A, 0x823B, 0x023E, 0x0234, 0x8231,
        0x8213, 0x0216, 0x021C, 0x8219, 0x0208, 0x820D, 0x8207, 0x0202
    };

    for(j = 0; j < data_blk_size; j++)
    {
        i = ((unsigned short)(crc_accum >> 8) ^ data_blk_ptr[j]) & 0xFF;
        crc_accum = (crc_accum << 8) ^ crc_table[i];
    }

    return crc_accum;
}
/* USER CODE END 4 */

void Error_Handler(void)
{
  __disable_irq();
  while (1)
  {
  }
}
